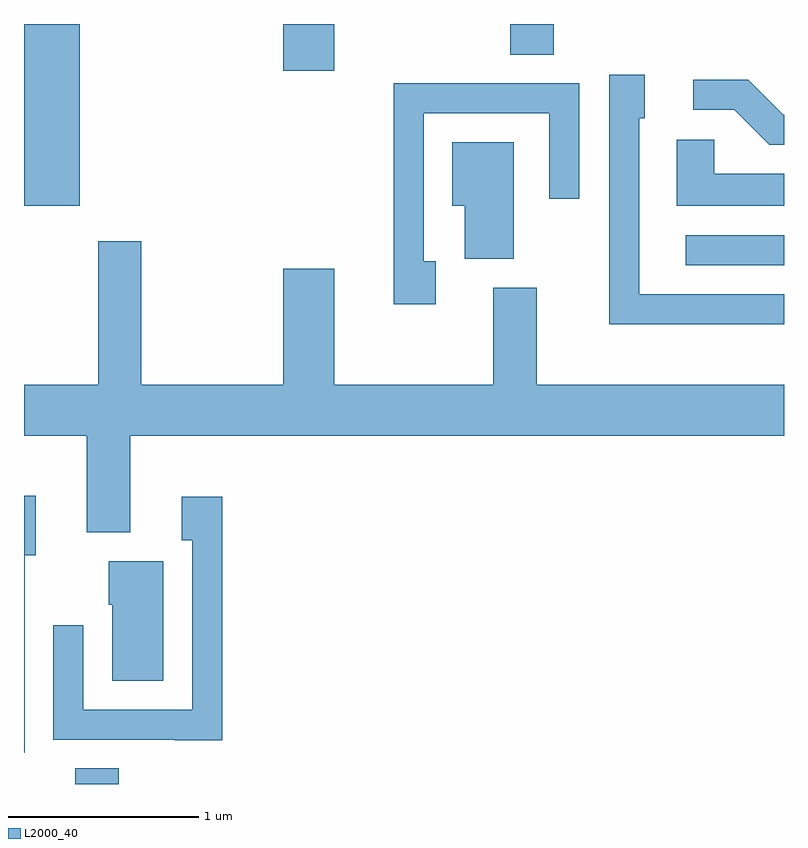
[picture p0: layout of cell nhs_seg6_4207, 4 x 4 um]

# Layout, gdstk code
import gdstk
lib = gdstk.Library(unit=1e-6, precision=1e-09)
def R(c, l, rs):  # rectangles x0, y0, x1, y1
    for r in rs: c.add(gdstk.rectangle(r[:2], r[2:], *l))
def P(c, l, *ps):  # polygons
    for p in ps: c.add(gdstk.Polygon(p, *l))
L2000_40 = (2000, 40)

nhs_seg6_4207 = lib.new_cell('nhs_seg6_4207')
R(nhs_seg6_4207, L2000_40, [(313.881,1588.162,314.109,1588.244), (317.093,1590.891,317.611,1591.049), (313.611,1591.206,313.904,1592.162), (314.976,1591.916,315.244,1592.162), (316.171,1592.001,316.399,1592.162)])
P(nhs_seg6_4207, L2000_40, [(317.611,1590.739),(316.849,1590.739),(316.849,1591.666),(316.879,1591.666),(316.879,1591.894),(316.691,1591.894),(316.691,1590.581),(317.611,1590.581)],
  [(317.611,1591.684),(317.607,1591.684),(317.422,1591.869),(317.133,1591.869),(317.133,1591.711),(317.349,1591.711),(317.534,1591.526),(317.611,1591.526)],
  [(315.779,1590.914),(315.714,1590.914),(315.714,1591.691),(316.376,1591.691),(316.376,1591.243),(316.534,1591.243),(316.534,1591.849),(315.556,1591.849),(315.556,1590.686),(315.779,1590.686)],
  [(317.611,1591.374),(317.244,1591.374),(317.244,1591.554),(317.046,1591.554),(317.046,1591.206),(317.611,1591.206)],
  [(316.189,1591.539),(315.866,1591.539),(315.866,1591.206),(315.931,1591.206),(315.931,1590.926),(316.189,1590.926)],
  [(314.169,1589.996),(317.611,1589.996),(317.611,1590.264),(316.309,1590.264),(316.309,1590.774),(316.081,1590.774),(316.081,1590.264),(315.244,1590.264),(315.244,1590.874),(314.976,1590.874),(314.976,1590.264),(314.229,1590.264),(314.229,1591.019),(314.001,1591.019),(314.001,1590.264),(313.611,1590.264),(313.611,1589.996),(313.941,1589.996),(313.941,1589.486),(314.169,1589.486)],
  [(313.614,1589.366),(313.674,1589.366),(313.674,1589.679),(313.611,1589.679),(313.611,1588.326),(313.614,1588.326)],
  [(314.654,1589.674),(314.441,1589.674),(314.441,1589.446),(314.496,1589.446),(314.496,1588.554),(313.924,1588.554),(313.924,1588.998),(313.766,1588.998),(313.766,1588.396),(314.405,1588.396),(314.405,1588.391),(314.654,1588.391)],
  [(314.344,1589.334),(314.056,1589.334),(314.056,1589.106),(314.076,1589.106),(314.076,1588.706),(314.344,1588.706)])

lib.write_gds('nhs_seg6_4207.gds')
